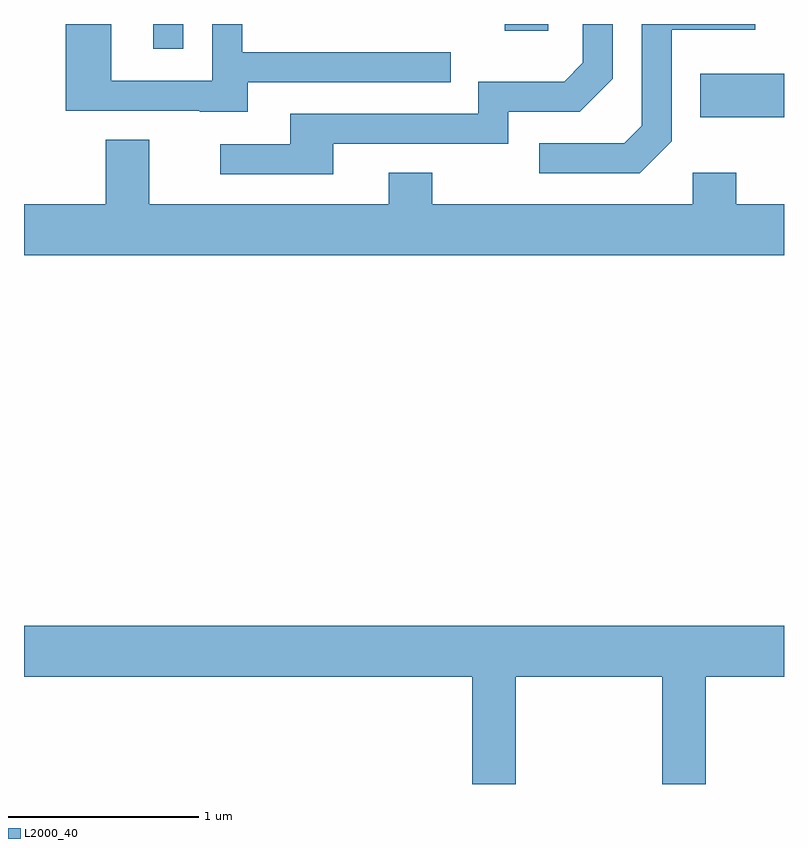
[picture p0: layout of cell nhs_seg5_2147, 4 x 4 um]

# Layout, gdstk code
import gdstk
lib = gdstk.Library(unit=1e-6, precision=1e-09)
def R(c, l, rs):  # rectangles x0, y0, x1, y1
    for r in rs: c.add(gdstk.rectangle(r[:2], r[2:], *l))
def P(c, l, *ps):  # polygons
    for p in ps: c.add(gdstk.Polygon(p, *l))
L2000_40 = (2000, 40)

nhs_seg5_2147 = lib.new_cell('nhs_seg5_2147')
R(nhs_seg5_2147, L2000_40, [(253.171,1397.581,253.611,1397.809), (250.291,1397.943,250.449,1398.072), (252.141,1398.036,252.369,1398.072)])
P(nhs_seg5_2147, L2000_40, [(250.789,1397.766),(251.858,1397.766),(251.858,1397.924),(250.759,1397.924),(250.759,1398.072),(250.601,1398.072),(250.601,1397.774),(250.069,1397.774),(250.069,1398.072),(249.831,1398.072),(249.831,1397.616),(250.535,1397.616),(250.535,1397.611),(250.789,1397.611)],
  [(251.239,1397.441),(252.159,1397.441),(252.159,1397.611),(252.537,1397.611),(252.709,1397.784),(252.709,1398.072),(252.551,1398.072),(252.551,1397.867),(252.454,1397.769),(252.001,1397.769),(252.001,1397.599),(251.011,1397.599),(251.011,1397.439),(250.643,1397.439),(250.643,1397.281),(251.239,1397.281)],
  [(253.019,1397.454),(253.019,1398.041),(253.459,1398.041),(253.459,1398.072),(252.861,1398.072),(252.861,1397.537),(252.769,1397.444),(252.323,1397.444),(252.323,1397.286),(252.852,1397.286)],
  [(253.611,1397.124),(253.359,1397.124),(253.359,1397.289),(253.131,1397.289),(253.131,1397.124),(251.759,1397.124),(251.759,1397.289),(251.531,1397.289),(251.531,1397.124),(250.269,1397.124),(250.269,1397.464),(250.041,1397.464),(250.041,1397.124),(249.611,1397.124),(249.611,1396.856),(253.611,1396.856)],
  [(252.199,1394.636),(252.971,1394.636),(252.971,1394.072),(253.199,1394.072),(253.199,1394.636),(253.611,1394.636),(253.611,1394.904),(249.611,1394.904),(249.611,1394.636),(251.971,1394.636),(251.971,1394.072),(252.199,1394.072)])

lib.write_gds('nhs_seg5_2147.gds')
